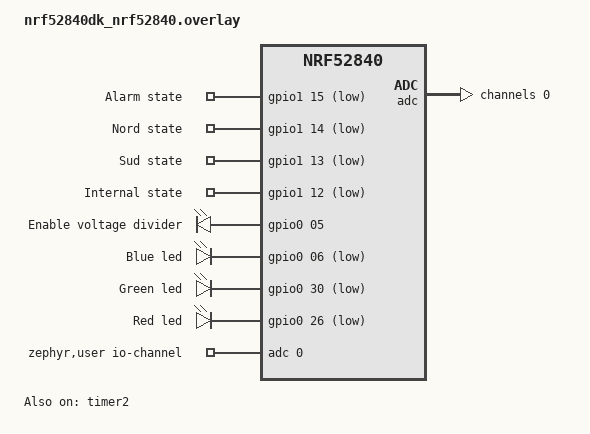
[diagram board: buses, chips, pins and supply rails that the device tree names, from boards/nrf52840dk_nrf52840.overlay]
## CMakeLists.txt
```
#
# Copyright (c) 2024 Nordic Semiconductor ASA
#
# SPDX-License-Identifier: LicenseRef-Nordic-5-Clause
#

cmake_minimum_required(VERSION 3.20.0)

find_package(Zephyr REQUIRED HINTS $ENV{ZEPHYR_BASE})

project(alarm_device)

# NORDIC SDK APP START
target_sources(app PRIVATE
  src/main.c
)

target_include_directories(app PRIVATE include)
# NORDIC SDK APP END
```

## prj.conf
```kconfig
#
# Copyright (c) 2024 Nordic Semiconductor ASA
#
# SPDX-License-Identifier: LicenseRef-Nordic-5-Clause
#

CONFIG_NCS_SAMPLES_DEFAULTS=n

CONFIG_GPIO=y

#Used for log. Disable for power optimization
CONFIG_SERIAL=y
CONFIG_UART_INTERRUPT_DRIVEN=y
CONFIG_CONSOLE=y
CONFIG_UART_CONSOLE=y
CONFIG_LOG=y
CONFIG_LOG_MODE_MINIMAL=n
CONFIG_LOG_BACKEND_UART=y
CONFIG_LOG_BACKEND_SHOW_COLOR=y


CONFIG_HEAP_MEM_POOL_SIZE=2048
CONFIG_MAIN_THREAD_PRIORITY=7

CONFIG_ZIGBEE_ADD_ON=y
CONFIG_ZIGBEE_APP_UTILS=y
CONFIG_ZIGBEE_ROLE_END_DEVICE=y

#Channel
CONFIG_ZIGBEE_CHANNEL=25

# Enable DK LED and Buttons library
CONFIG_DK_LIBRARY=n

# This example requires more workqueue stack
CONFIG_SYSTEM_WORKQUEUE_STACK_SIZE=2048

# Networking
CONFIG_NET_IPV6=n
CONFIG_NET_IP_ADDR_CHECK=n
CONFIG_NET_UDP=n

#reboot
#CONFIG_REBOOT=y

# ADC
CONFIG_ADC=y

# Enable API for powering down unused RAM parts
#https://nrfconnectdocs.nordicsemi.com/addons/zigbee-r23/latest/configuring.html#sleepy-end-device-behavior
CONFIG_RAM_POWER_DOWN_LIBRARY=y

#power optimization
#https://nrfconnectdocs.nordicsemi.com/ncs/latest/nrf/test_and_optimize/optimizing/power_general.html#enable-device-power-management-module
CONFIG_PM_DEVICE=y
```

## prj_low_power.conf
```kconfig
#
# Copyright (c) 2024 Nordic Semiconductor ASA
#
# SPDX-License-Identifier: LicenseRef-Nordic-5-Clause
#

CONFIG_NCS_SAMPLES_DEFAULTS=n

CONFIG_GPIO=y

#Used for log
CONFIG_SERIAL=n
CONFIG_UART_INTERRUPT_DRIVEN=n
CONFIG_CONSOLE=n
CONFIG_UART_CONSOLE=n
CONFIG_LOG=n

CONFIG_HEAP_MEM_POOL_SIZE=2048
CONFIG_MAIN_THREAD_PRIORITY=7

CONFIG_ZIGBEE_ADD_ON=y
CONFIG_ZIGBEE_APP_UTILS=y
CONFIG_ZIGBEE_ROLE_END_DEVICE=y

#Channel
CONFIG_ZIGBEE_CHANNEL=25

# Enable DK LED and Buttons library
CONFIG_DK_LIBRARY=n

# This example requires more workqueue stack
CONFIG_SYSTEM_WORKQUEUE_STACK_SIZE=2048

# Networking
CONFIG_NET_IPV6=n
CONFIG_NET_IP_ADDR_CHECK=n
CONFIG_NET_UDP=n

#reboot
#CONFIG_REBOOT=y

# ADC
CONFIG_ADC=y

#Enable API for powering down unused RAM parts
#https://nrfconnectdocs.nordicsemi.com/addons/zigbee-r23/latest/configuring.html#sleepy-end-device-behavior
CONFIG_RAM_POWER_DOWN_LIBRARY=y

#power optimization
#https://nrfconnectdocs.nordicsemi.com/ncs/latest/nrf/test_and_optimize/optimizing/power_general.html#enable-device-power-management-module
CONFIG_PM_DEVICE=y
```

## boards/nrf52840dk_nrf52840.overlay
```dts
/*
 * Copyright (c) 2025 Nordic Semiconductor ASA
 *
 * SPDX-License-Identifier: LicenseRef-Nordic-5-Clause
 */
/ {
	chosen {
		ncs,zigbee-timer = &timer2;
	};

	/*https://academy.nordicsemi.com/?nds_version_content=nrf-connect-sdk-fundamentals-lesson-2-gpio-generic-api-v3-2-0-v3-0-0*/
	/* Define a container for your binary sensors */
	binary_sensors {
		compatible = "gpio-keys";

		/* Sensor 1 definition */
		sensor_zero: sensor_0 {
			gpios = <&gpio1 15 (GPIO_PULL_UP | GPIO_ACTIVE_LOW)>;
			label = "Alarm state";
			status = "okay";
		};

		sensor_one: sensor_1 {
			gpios = <&gpio1 14 (GPIO_PULL_UP | GPIO_ACTIVE_LOW)>;
			label = "Nord state";
			status = "okay";
		};

		sensor_two: sensor_2 {
			gpios = <&gpio1 13 (GPIO_PULL_UP | GPIO_ACTIVE_LOW)>;
			label = "Sud state";
			status = "okay";
		};

		sensor_three: sensor_3 {
			gpios = <&gpio1 12 (GPIO_PULL_UP | GPIO_ACTIVE_LOW)>;
			label = "Internal state";
			status = "okay";
		};
	};

	/*buttons {
		compatible = "gpio-keys";

		reset_button: button_0 {
			gpios = <&gpio0 18 GPIO_ACTIVE_HIGH>;
			label = "Reset button";
			status = "okay";
		};

	};*/

	leds {
		compatible = "gpio-leds";

		led_zero: led_0 {
			gpios = <&gpio0 05 GPIO_ACTIVE_HIGH>;
			label = "Enable voltage divider";
			status = "okay";
		};

		led_blue: led_1 {
			gpios = <&gpio0 06 GPIO_ACTIVE_LOW>;
			label = "Blue led";
			status = "okay";
		};

		led_green: led_2 {
			gpios = <&gpio0 30 GPIO_ACTIVE_LOW>;
			label = "Green led";
			status = "okay";
		};

		led_red: led_3 {
			gpios = <&gpio0 26 GPIO_ACTIVE_LOW>;
			label = "Red led";
			status = "okay";
		};
	};

	/*ADC config https://academy.nordicsemi.com/courses/nrf-connect-sdk-intermediate/lessons/lesson-6-analog-to-digital-converter-adc/topic/exercise-1-interfacing-with-adc-using-zephyr-api/*/
	zephyr,user {
		io-channels = <&adc 0>;
	};

    /* Optional: Create aliases for easy access in your C code */
    aliases {
        alarmstate = &sensor_zero;
	nordstate = &sensor_one;
	sudstate = &sensor_two;
	internalstate = &sensor_three;
	voltageread = &led_zero;
	ledblue = &led_blue;
	ledgreen = &led_green;
	ledred = &led_red;
	//reset-button = &reset_button;
    };

};

&timer2 {
	status = "okay";
};

&adc {
	#address-cells = <1>;
	#size-cells = <0>;
	status = "okay";
	channel@0 {
		reg = <0>;
		zephyr,gain = "ADC_GAIN_1_6"; //Max input voltage = reference / Gain = 0.6 / (1/6) = 3.6V
		zephyr,reference = "ADC_REF_INTERNAL"; //-> +0.6
		zephyr,acquisition-time = <ADC_ACQ_TIME_DEFAULT>;
		zephyr,input-positive = <NRF_SAADC_AIN0>; // P0.02 for nRF52xx, P0.04 for nRF5340
		zephyr,resolution = <12>;
	};
};
```

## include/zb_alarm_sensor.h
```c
#ifndef ZB_ALARM_SENSOR_H
#define ZB_ALARM_SENSOR_H

/**
 *  @defgroup ZB_DEFINE_DEVICE_ALARM_SENSOR Alarm Sensor
 *  @{
 *  @details
 *      - @ref ZB_ZCL_BASIC \n
 *      - @ref ZB_ZCL_IDENTIFY \n
 *      - @ref ZB_ZCL_BINARY_INPUT
 */

/** Alarm Sensor Device ID */
#define ZB_ALARM_SENSOR_DEVICE_ID 0x0402

/** Alarm Sensor device version */
#define ZB_DEVICE_VER_ALARM_SENSOR 0

/** @cond internals_doc */

/** Alarm Sensor IN (server) clusters number */
#define ZB_ALARM_SENSOR_IN_CLUSTER_NUM 3

/** Alarm Sensor OUT (client) clusters number */
#define ZB_ALARM_SENSOR_OUT_CLUSTER_NUM 0

/** Alarm Sensor total (IN+OUT) cluster number */
#define ZB_ALARM_SENSOR_CLUSTER_NUM \
	(ZB_ALARM_SENSOR_IN_CLUSTER_NUM + ZB_ALARM_SENSOR_OUT_CLUSTER_NUM)

/** Number of attribute for reporting*/
#define ZB_ALARM_SENSOR_REPORT_ATTR_COUNT ZB_ZCL_BINARY_INPUT_REPORT_ATTR_COUNT

//Attribute list with description
#define ZB_SET_ATTR_DESCR_WITH_ZB_ZCL_ATTR_BINARY_INPUT_DESCRIPTION_ID(data_ptr) \
{                                                                   \
  ZB_ZCL_ATTR_BINARY_INPUT_DESCRIPTION_ID,                          \
  ZB_ZCL_ATTR_TYPE_CHAR_STRING,                                     \
  ZB_ZCL_ATTR_ACCESS_READ_ONLY | ZB_ZCL_ATTR_ACCESS_WRITE_OPTIONAL, \
  (ZB_ZCL_NON_MANUFACTURER_SPECIFIC),                               \
  (void*) data_ptr                                                  \
}

#define ZB_ZCL_DECLARE_BINARY_INPUT_ATTRIB_LIST_EXT(                                     \
    attr_list, out_of_service, present_value, status_flag, description)                           \
  ZB_ZCL_START_DECLARE_ATTRIB_LIST_CLUSTER_REVISION(attr_list, ZB_ZCL_BINARY_INPUT)  \
  ZB_ZCL_SET_ATTR_DESC(ZB_ZCL_ATTR_BINARY_INPUT_OUT_OF_SERVICE_ID, (out_of_service)) \
  ZB_ZCL_SET_ATTR_DESC(ZB_ZCL_ATTR_BINARY_INPUT_PRESENT_VALUE_ID, (present_value))   \
  ZB_ZCL_SET_ATTR_DESC(ZB_ZCL_ATTR_BINARY_INPUT_STATUS_FLAG_ID, (status_flag))       \
  ZB_ZCL_SET_ATTR_DESC(ZB_ZCL_ATTR_BINARY_INPUT_DESCRIPTION_ID, (description))       \
  ZB_ZCL_FINISH_DECLARE_ATTRIB_LIST

/** @endcond */ /* internals_doc */

/**
 * @brief Declare cluster list for Alarm Sensor device
 * @param cluster_list_name - cluster list variable name
 * @param basic_server_attr_list - attribute list for Basic cluster (server role)
 * @param identify_server_attr_list - attribute list for Identify cluster (server role)
 * @param binary_input_attr_list - attribute list for binary_input cluster (server role)
 */
#define ZB_DECLARE_ALARM_SENSOR_CLUSTER_LIST(					  \
		cluster_list_name,						  \
		basic_server_attr_list,						  \
		identify_server_attr_list,					  \
		binary_input_attr_list)					  \
zb_zcl_cluster_desc_t cluster_list_name[] =					  \
{										  \
	ZB_ZCL_CLUSTER_DESC(							  \
		ZB_ZCL_CLUSTER_ID_BASIC,					  \
		ZB_ZCL_ARRAY_SIZE(basic_server_attr_list, zb_zcl_attr_t),	  \
		(basic_server_attr_list),					  \
		ZB_ZCL_CLUSTER_SERVER_ROLE,					  \
		ZB_ZCL_MANUF_CODE_INVALID					  \
	),									  \
	ZB_ZCL_CLUSTER_DESC(							  \
		ZB_ZCL_CLUSTER_ID_IDENTIFY,					  \
		ZB_ZCL_ARRAY_SIZE(identify_server_attr_list, zb_zcl_attr_t),	  \
		(identify_server_attr_list),					  \
		ZB_ZCL_CLUSTER_SERVER_ROLE,					  \
		ZB_ZCL_MANUF_CODE_INVALID					  \
	),									  \
	ZB_ZCL_CLUSTER_DESC(							  \
		ZB_ZCL_CLUSTER_ID_BINARY_INPUT,					  \
		ZB_ZCL_ARRAY_SIZE(binary_input_attr_list, zb_zcl_attr_t),	  \
		(binary_input_attr_list),					  \
		ZB_ZCL_CLUSTER_SERVER_ROLE,					  \
		ZB_ZCL_MANUF_CODE_INVALID					  \
	)									  \
}


/** @cond internals_doc */
/**
 * @brief Declare simple descriptor for Alarm Sensor device
 * @param ep_name - endpoint variable name
 * @param ep_id - endpoint ID
 * @param in_clust_num - number of supported input clusters
 * @param out_clust_num - number of supported output clusters
 */
#define ZB_ZCL_DECLARE_ALARM_SENSOR_SIMPLE_DESC(				    \
	ep_name, ep_id, in_clust_num, out_clust_num)				    \
	ZB_DECLARE_SIMPLE_DESC_VA(in_clust_num, out_clust_num, ep_name);			    \
	ZB_AF_SIMPLE_DESC_TYPE_VA(in_clust_num, out_clust_num, ep_name) simple_desc_##ep_name = \
	{									    \
		ep_id,								    \
		ZB_AF_HA_PROFILE_ID,						    \
		ZB_ALARM_SENSOR_DEVICE_ID,					    \
		ZB_DEVICE_VER_ALARM_SENSOR,					    \
		0,								    \
		in_clust_num,							    \
		out_clust_num,							    \
		{								    \
			ZB_ZCL_CLUSTER_ID_BASIC,				    \
			ZB_ZCL_CLUSTER_ID_IDENTIFY,				    \
			ZB_ZCL_CLUSTER_ID_BINARY_INPUT			    \
		}								    \
	}

/** @endcond */ /* internals_doc */

/**
 * @brief Declare endpoint for Alarm Sensor device
 * @param ep_name - endpoint variable name
 * @param ep_id - endpoint ID
 * @param cluster_list - endpoint cluster list
 */
#define ZB_DECLARE_ALARM_SENSOR_EP(ep_name, ep_id, cluster_list)		      \
	ZB_ZCL_DECLARE_ALARM_SENSOR_SIMPLE_DESC(ep_name, ep_id,		      \
		ZB_ALARM_SENSOR_IN_CLUSTER_NUM, ZB_ALARM_SENSOR_OUT_CLUSTER_NUM); \
	ZBOSS_DEVICE_DECLARE_REPORTING_CTX(reporting_info##ep_name,		      \
		ZB_ALARM_SENSOR_REPORT_ATTR_COUNT);				      \
	ZB_AF_DECLARE_ENDPOINT_DESC(ep_name, ep_id, ZB_AF_HA_PROFILE_ID, 0, NULL,     \
		ZB_ZCL_ARRAY_SIZE(cluster_list, zb_zcl_cluster_desc_t), cluster_list, \
		(zb_af_simple_desc_1_1_t *)&simple_desc_##ep_name,		      \
		ZB_ALARM_SENSOR_REPORT_ATTR_COUNT, \
		reporting_info##ep_name, /* Use reporting ctx to transmit attribute */    \
		0, NULL) /* No CVC ctx */

/** @} */

#endif /* ZB_ALARM_SENSOR_H */
```

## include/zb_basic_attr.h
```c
// Basic cluster attributes initial values. For more information, see section 3.2.2.2 of the ZCL specification.
#define BASIC_APP_VERSION       01                                  // Version of the application software (1 byte).
#define BASIC_STACK_VERSION     10                                  // Version of the implementation of the Zigbee stack (1 byte).
#define BASIC_HW_VERSION        11                                  // Version of the hardware of the device (1 byte).
#define BASIC_MANUF_NAME        "Marco Corp."                     // Manufacturer name (32 bytes).
#define BASIC_MODEL_ID          "nRF"                        // Model number assigned by the manufacturer (32-bytes long string).
#define BASIC_DATE_CODE         "20260810"                          // Date provided by the manufacturer of the device in ISO 8601 format (YYYYMMDD), for the first 8 bytes. The remaining 8 bytes are manufacturer-specific.
#define BASIC_POWER_SOURCE      ZB_ZCL_BASIC_POWER_SOURCE_BATTERY   // Type of power source or sources available for the device. For possible values, see section 3.2.2.2.8 of the ZCL specification.
#define BASIC_LOCATION_DESC     "Earth"                             // Description of the physical location of the device (16 bytes). You can modify it during the commisioning process.
#define BASIC_PH_ENV            ZB_ZCL_BASIC_ENV_UNSPECIFIED        // Description of the type of physical environment. For possible values, see section 3.2.2.2.10 of the ZCL specification.
```

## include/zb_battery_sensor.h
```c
/*
 * Copyright (c) 2024 Nordic Semiconductor ASA
 *
 * SPDX-License-Identifier: LicenseRef-Nordic-5-Clause
 */

#ifndef ZB_BATTERY_SENSOR_H
#define ZB_BATTERY_SENSOR_H

/**
 *  @defgroup ZB_DEFINE_DEVICE_BATTERY_SENSOR BATTERY Sensor
 *  @{
 *  @details
 *      - @ref ZB_ZCL_BASIC \n
 *      - @ref ZB_ZCL_IDENTIFY \n
 *      - @ref ZB_ZCL_BINARY_INPUT
 */

/** BATTERY Sensor Device ID */
#define ZB_BATTERY_SENSOR_DEVICE_ID 0x0402

/** BATTERY Sensor device version */
#define ZB_DEVICE_VER_BATTERY_SENSOR 0

/** @cond internals_doc */

/** BATTERY Sensor IN (server) clusters number */
#define ZB_BATTERY_SENSOR_IN_CLUSTER_NUM 3

/** BATTERY Sensor OUT (client) clusters number */
#define ZB_BATTERY_SENSOR_OUT_CLUSTER_NUM 0

/** BATTERY Sensor total (IN+OUT) cluster number */
#define ZB_BATTERY_SENSOR_CLUSTER_NUM \
	(ZB_BATTERY_SENSOR_IN_CLUSTER_NUM + ZB_BATTERY_SENSOR_OUT_CLUSTER_NUM)

/** Number of attribute for reporting on BATTERY Sensor device */
#define ZB_BATTERY_SENSOR_REPORT_ATTR_COUNT ZB_ZCL_ANALOG_INPUT_REPORT_ATTR_COUNT

/** @endcond */ /* internals_doc */

/**
 * @brief Declare cluster list for BATTERY Sensor device
 * @param cluster_list_name - cluster list variable name
 * @param basic_server_attr_list - attribute list for Basic cluster (server role)
 * @param identify_server_attr_list - attribute list for Identify cluster (server role)
 * @param analog_input_attr_list - attribute list for binary_input cluster (server role)
 */
#define ZB_DECLARE_BATTERY_SENSOR_CLUSTER_LIST(					  \
		cluster_list_name,						  \
		basic_server_attr_list,						  \
		identify_server_attr_list,					  \
		analog_input_attr_list)					  \
zb_zcl_cluster_desc_t cluster_list_name[] =					  \
{										  \
	ZB_ZCL_CLUSTER_DESC(							  \
		ZB_ZCL_CLUSTER_ID_BASIC,					  \
		ZB_ZCL_ARRAY_SIZE(basic_server_attr_list, zb_zcl_attr_t),	  \
		(basic_server_attr_list),					  \
		ZB_ZCL_CLUSTER_SERVER_ROLE,					  \
		ZB_ZCL_MANUF_CODE_INVALID					  \
	),									  \
	ZB_ZCL_CLUSTER_DESC(							  \
		ZB_ZCL_CLUSTER_ID_IDENTIFY,					  \
		ZB_ZCL_ARRAY_SIZE(identify_server_attr_list, zb_zcl_attr_t),	  \
		(identify_server_attr_list),					  \
		ZB_ZCL_CLUSTER_SERVER_ROLE,					  \
		ZB_ZCL_MANUF_CODE_INVALID					  \
	),									  \
	ZB_ZCL_CLUSTER_DESC(							  \
		ZB_ZCL_CLUSTER_ID_ANALOG_INPUT,					  \
		ZB_ZCL_ARRAY_SIZE(analog_input_attr_list, zb_zcl_attr_t),	  \
		(analog_input_attr_list),					  \
		ZB_ZCL_CLUSTER_SERVER_ROLE,					  \
		ZB_ZCL_MANUF_CODE_INVALID					  \
	)									  \
}


/** @cond internals_doc */
/**
 * @brief Declare simple descriptor for BATTERY Sensor device
 * @param ep_name - endpoint variable name
 * @param ep_id - endpoint ID
 * @param in_clust_num - number of supported input clusters
 * @param out_clust_num - number of supported output clusters
 */
#define ZB_ZCL_DECLARE_BATTERY_SENSOR_SIMPLE_DESC(				    \
	ep_name, ep_id, in_clust_num, out_clust_num)				    \
	ZB_DECLARE_SIMPLE_DESC_VA(in_clust_num, out_clust_num, ep_name);			    \
	ZB_AF_SIMPLE_DESC_TYPE_VA(in_clust_num, out_clust_num, ep_name) simple_desc_##ep_name = \
	{									    \
		ep_id,								    \
		ZB_AF_HA_PROFILE_ID,						    \
		ZB_BATTERY_SENSOR_DEVICE_ID,					    \
		ZB_DEVICE_VER_BATTERY_SENSOR,					    \
		0,								    \
		in_clust_num,							    \
		out_clust_num,							    \
		{								    \
			ZB_ZCL_CLUSTER_ID_BASIC,				    \
			ZB_ZCL_CLUSTER_ID_IDENTIFY,				    \
			ZB_ZCL_CLUSTER_ID_ANALOG_INPUT				    \
		}								    \
	}

/** @endcond */ /* internals_doc */

/**
 * @brief Declare endpoint for BATTERY Sensor device
 * @param ep_name - endpoint variable name
 * @param ep_id - endpoint ID
 * @param cluster_list - endpoint cluster list
 * @param reporting_ctx
 */
#define ZB_DECLARE_BATTERY_SENSOR_EP(ep_name, ep_id, cluster_list)		      \
	ZB_ZCL_DECLARE_BATTERY_SENSOR_SIMPLE_DESC(ep_name, ep_id,		      \
		ZB_BATTERY_SENSOR_IN_CLUSTER_NUM, ZB_BATTERY_SENSOR_OUT_CLUSTER_NUM); \
	ZBOSS_DEVICE_DECLARE_REPORTING_CTX(reporting_info##ep_name,		      \
		ZB_BATTERY_SENSOR_REPORT_ATTR_COUNT);  \
	ZB_AF_DECLARE_ENDPOINT_DESC(ep_name, ep_id, ZB_AF_HA_PROFILE_ID, 0, NULL,     \
		ZB_ZCL_ARRAY_SIZE(cluster_list, zb_zcl_cluster_desc_t), cluster_list, \
		(zb_af_simple_desc_1_1_t *)&simple_desc_##ep_name,		      \
		ZB_BATTERY_SENSOR_REPORT_ATTR_COUNT, \
		reporting_info##ep_name, /* Use reporting ctx to transmit attribute */    \
		0, NULL) /* No CVC ctx */

/** @} */

#endif /* ZB_BATTERY_SENSOR_H */
```

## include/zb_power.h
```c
#ifndef ZB_POWER_H
#define ZB_POWER_H

/**
 *  @defgroup ZB_DEFINE_DEVICE_POWER Alarm Sensor
 *  @{
 *  @details
 *      - @ref ZB_ZCL_BASIC \n
 *      - @ref ZB_ZCL_IDENTIFY \n
 *      - @ref ZB_ZCL_BINARY_INPUT
 */

/** Alarm Sensor Device ID */
#define ZB_POWER_DEVICE_ID 0x0402

/** Alarm Sensor device version */
#define ZB_DEVICE_VER_POWER 0

/** @cond internals_doc */

/** Sensor IN (server) clusters number = basic + info + power*/
#define ZB_POWER_IN_CLUSTER_NUM 3

/** Sensor OUT (client) clusters number */
#define ZB_POWER_OUT_CLUSTER_NUM 0

/** Sensor total (IN+OUT) cluster number */
#define ZB_POWER_CLUSTER_NUM \
	(ZB_POWER_IN_CLUSTER_NUM + ZB_POWER_OUT_CLUSTER_NUM)

/** Number of attribute for reporting: defalut (alarm state + percent) + voltage */
#define POWER_REPORT_ATTR_COUNT \
	(ZB_ZCL_POWER_CONFIG_REPORT_ATTR_COUNT + 1)


//Set VOLTAGE_ID reportable
#ifdef ZB_SET_ATTR_DESCR_WITH_ZB_ZCL_ATTR_POWER_CONFIG_BATTERY_VOLTAGE_ID
#undef ZB_SET_ATTR_DESCR_WITH_ZB_ZCL_ATTR_POWER_CONFIG_BATTERY_VOLTAGE_ID
#endif

#define ZB_SET_ATTR_DESCR_WITH_ZB_ZCL_ATTR_POWER_CONFIG_BATTERY_VOLTAGE_ID(data_ptr, bat_num) \
{                                                               \
  ZB_ZCL_ATTR_POWER_CONFIG_BATTERY##bat_num##_VOLTAGE_ID,       \
  ZB_ZCL_ATTR_TYPE_U8,                                          \
  ZB_ZCL_ATTR_ACCESS_READ_ONLY  | ZB_ZCL_ATTR_ACCESS_REPORTING,                                 \
  (ZB_ZCL_NON_MANUFACTURER_SPECIFIC),                           \
  (void*) data_ptr                                              \
}

/**
 * @brief Declare cluster list for Alarm Sensor device
 * @param cluster_list_name - cluster list variable name
 * @param basic_server_attr_list - attribute list for Basic cluster (server role)
 * @param identify_server_attr_list - attribute list for Identify cluster (server role)
 * @param binary_input_attr_list - attribute list for binary_input cluster (server role)
 */
#define ZB_DECLARE_POWER_CLUSTER_LIST(					  \
		cluster_list_name,						  \
		basic_server_attr_list,						  \
		identify_server_attr_list,					  \
		power_attr_list)					  \
zb_zcl_cluster_desc_t cluster_list_name[] =					  \
{										  \
	ZB_ZCL_CLUSTER_DESC(							  \
		ZB_ZCL_CLUSTER_ID_BASIC,					  \
		ZB_ZCL_ARRAY_SIZE(basic_server_attr_list, zb_zcl_attr_t),	  \
		(basic_server_attr_list),					  \
		ZB_ZCL_CLUSTER_SERVER_ROLE,					  \
		ZB_ZCL_MANUF_CODE_INVALID					  \
	),									  \
	ZB_ZCL_CLUSTER_DESC(							  \
		ZB_ZCL_CLUSTER_ID_IDENTIFY,					  \
		ZB_ZCL_ARRAY_SIZE(identify_server_attr_list, zb_zcl_attr_t),	  \
		(identify_server_attr_list),					  \
		ZB_ZCL_CLUSTER_SERVER_ROLE,					  \
		ZB_ZCL_MANUF_CODE_INVALID					  \
	),									  \
	ZB_ZCL_CLUSTER_DESC(							  \
		ZB_ZCL_CLUSTER_ID_POWER_CONFIG,					  \
		ZB_ZCL_ARRAY_SIZE(power_attr_list, zb_zcl_attr_t),	  \
		(power_attr_list),					  \
		ZB_ZCL_CLUSTER_SERVER_ROLE,					  \
		ZB_ZCL_MANUF_CODE_INVALID					  \
	)									  \
}


/** @cond internals_doc */
/**
 * @brief Declare simple descriptor for Alarm Sensor device
 * @param ep_name - endpoint variable name
 * @param ep_id - endpoint ID
 * @param in_clust_num - number of supported input clusters
 * @param out_clust_num - number of supported output clusters
 */
#define ZB_ZCL_DECLARE_POWER_SIMPLE_DESC(				    \
	ep_name, ep_id, in_clust_num, out_clust_num)				    \
	ZB_DECLARE_SIMPLE_DESC_VA(in_clust_num, out_clust_num, ep_name);			    \
	ZB_AF_SIMPLE_DESC_TYPE_VA(in_clust_num, out_clust_num, ep_name) simple_desc_##ep_name = \
	{									    \
		ep_id,								    \
		ZB_AF_HA_PROFILE_ID,						    \
		ZB_POWER_DEVICE_ID,					    \
		ZB_DEVICE_VER_POWER,					    \
		0,								    \
		in_clust_num,							    \
		out_clust_num,							    \
		{								    \
			ZB_ZCL_CLUSTER_ID_BASIC,				    \
			ZB_ZCL_CLUSTER_ID_IDENTIFY,				    \
			ZB_ZCL_CLUSTER_ID_POWER_CONFIG 			    \
		}								    \
	}

/** @endcond */ /* internals_doc */

/**
 * @brief Declare endpoint for Alarm Sensor device
 * @param ep_name - endpoint variable name
 * @param ep_id - endpoint ID
 * @param cluster_list - endpoint cluster list
 */
#define ZB_DECLARE_POWER_EP(ep_name, ep_id, cluster_list)		      \
	ZB_ZCL_DECLARE_POWER_SIMPLE_DESC(ep_name, ep_id,		      \
		  ZB_POWER_IN_CLUSTER_NUM, ZB_POWER_OUT_CLUSTER_NUM); \
	ZBOSS_DEVICE_DECLARE_REPORTING_CTX(reporting_info##ep_name,		      \
		POWER_REPORT_ATTR_COUNT);				      \
	ZB_AF_DECLARE_ENDPOINT_DESC(ep_name, ep_id, ZB_AF_HA_PROFILE_ID, 0, NULL,     \
		ZB_ZCL_ARRAY_SIZE(cluster_list, zb_zcl_cluster_desc_t), cluster_list, \
		(zb_af_simple_desc_1_1_t *)&simple_desc_##ep_name,		      \
		POWER_REPORT_ATTR_COUNT, \
		reporting_info##ep_name, /* Use reporting ctx to transmit attribute */    \
		0, NULL) /* No CVC ctx */

/** @} */

#endif /* ZB_POWER_H */
```
